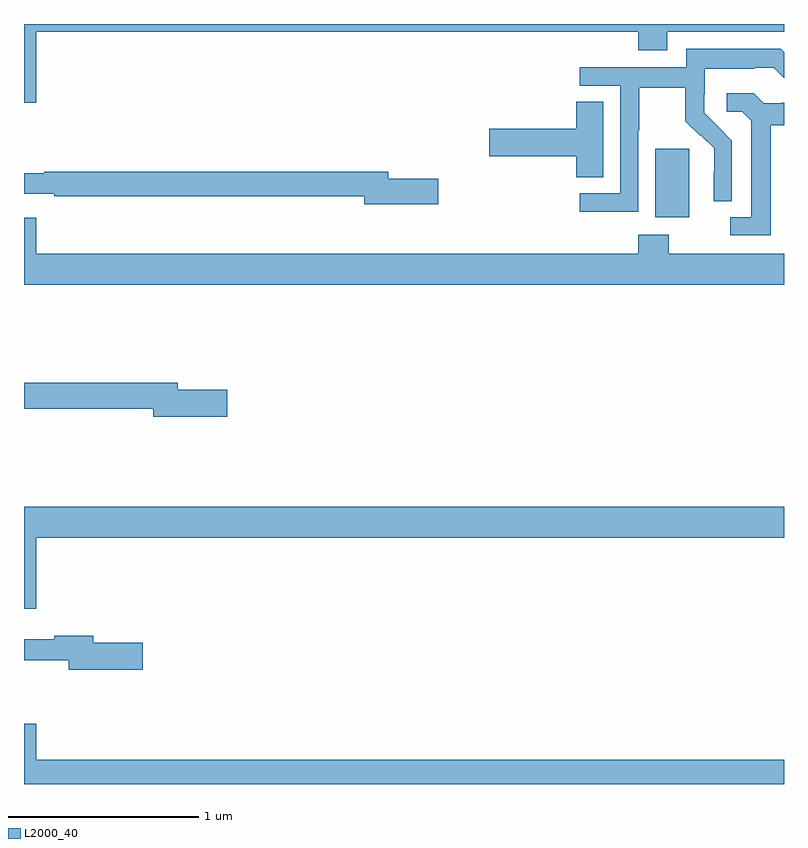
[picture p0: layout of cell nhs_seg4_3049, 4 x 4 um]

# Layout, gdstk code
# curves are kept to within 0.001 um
import gdstk
lib = gdstk.Library(unit=1e-6, precision=1e-09)
def R(c, l, rs):  # rectangles x0, y0, x1, y1
    for r in rs: c.add(gdstk.rectangle(r[:2], r[2:], *l))
def P(c, l, *ps):  # polygons
    for p in ps: c.add(gdstk.Polygon(p, *l))
L2000_40 = (2000, 40)

nhs_seg4_3049 = lib.new_cell('nhs_seg4_3049')
R(nhs_seg4_3049, L2000_40, [(276.323,755.882,276.502,756.243)])
P(nhs_seg4_3049, L2000_40, [(273.064,756.86),(276.233,756.86),(276.233,756.761),(276.385,756.761),(276.385,756.86),(277,756.86),(277,756.9),(273,756.9),(273,756.486),(273.064,756.486)],
  [(276.234,756.34),(276.237,756.34),(276.237,756.564),(276.481,756.564),(276.481,756.389),(276.558,756.312),(276.561,756.315),(276.632,756.245),(276.632,756.122),(276.63,756.122),(276.63,755.968),(276.726,755.968),(276.726,756.286),(276.58,756.434),(276.58,756.531),(276.582,756.531),(276.582,756.665),(276.845,756.665),(276.845,756.669),(276.945,756.669),(277,756.614),(277,756.752),(276.983,756.769),(276.486,756.769),(276.486,756.672),(275.925,756.672),(275.925,756.576),(276.138,756.576),(276.138,756.009),(275.925,756.009),(275.925,755.911),(276.234,755.911)],
  [(276.931,756.368),(277,756.368),(277,756.486),(276.988,756.486),(276.988,756.483),(276.894,756.483),(276.842,756.535),(276.699,756.535),(276.699,756.438),(276.78,756.438),(276.827,756.391),(276.827,755.883),(276.717,755.883),(276.717,755.787),(276.931,755.787)],
  [(276.049,756.491),(275.906,756.491),(275.906,756.35),(275.448,756.35),(275.448,756.203),(275.906,756.203),(275.906,756.094),(276.049,756.094)],
  [(275.179,756.086),(274.918,756.086),(274.918,756.122),(273.106,756.122),(273.106,756.115),(273,756.115),(273,756.006),(273.16,756.006),(273.16,755.994),(274.79,755.994),(274.79,755.951),(275.179,755.951)],
  [(277,755.692),(276.393,755.692),(276.393,755.791),(276.233,755.791),(276.233,755.692),(273.064,755.692),(273.064,755.881),(273,755.881),(273,755.528),(277,755.528)],
  [(274.069,754.976),(273.808,754.976),(273.808,755.012),(273,755.012),(273,754.876),(273.68,754.876),(273.68,754.834),(274.069,754.834)],
  [(273.064,754.196),(277,754.196),(277,754.36),(273,754.36),(273,753.822),(273.064,753.822)],
  [(273.625,753.644),(273.364,753.644),(273.364,753.68),(273.16,753.68),(273.16,753.661),(273,753.661),(273,753.552),(273.236,753.552),(273.236,753.502),(273.625,753.502)],
  [(277,753.028),(273.064,753.028),(273.064,753.217),(273,753.217),(273,752.9),(277,752.9)])

lib.write_gds('nhs_seg4_3049.gds')
